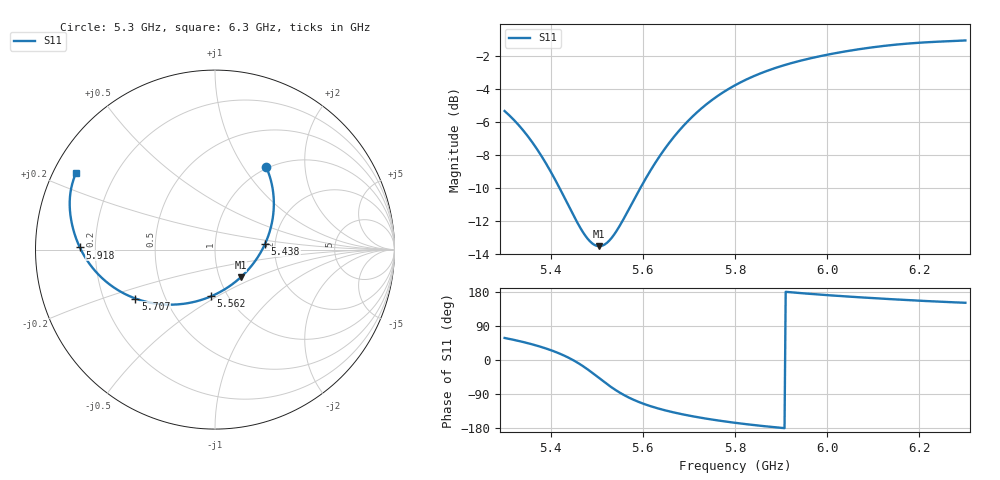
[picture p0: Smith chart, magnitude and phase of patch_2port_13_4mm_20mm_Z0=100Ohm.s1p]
! Created with skrf 1.8.0 (http://scikit-rf.org).
# Hz S RI R 100.0
!freq ReS11 ImS11
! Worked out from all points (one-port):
!   401 points, 5.3 GHz to 6.3 GHz, reference 100 ohm
!   lowest |S11| = -13.5 dB at 5.505 GHz (marker M1), VSWR 1.53, Z = 126 - j40.9 ohm
!   |S11| at or under -10 dB: 5.419 GHz to 5.595 GHz (175.6 MHz wide, 3.19 % of centre)
!   S11 on the Smith chart (normalised r, x): 5.3 GHz: 0.98, +1.27; 5.438 GHz: 1.77, +0.13; 5.562 GHz: 0.84, -0.47; 5.707 GHz: 0.34, -0.25; 5.918 GHz: 0.14, +0.01; 6.3 GHz: 0.06, +0.26
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5.3e9  0.2856 0.4598
5.3275e9  0.3112 0.386
5.3675e9  0.3279 0.2631
5.3975e9  0.3199 0.1643
5.425e9  0.2958 0.0736
5.4375e9  0.2796 0.0334
5.4775e9  0.2073 -0.0855
5.4925e9  0.1731 -0.125
5.505e9  0.1421 -0.1554
5.525e9  0.0885 -0.1985
5.55e9  0.0163 -0.2425
5.5625e9  -0.0214 -0.2601
5.59e9  -0.1061 -0.2888
5.6175e9  -0.191 -0.3038
5.645e9  -0.2737 -0.3062
5.675e9  -0.3589 -0.2961
5.7075e9  -0.4433 -0.2725
5.7525e9  -0.5436 -0.2239
5.8e9  -0.6278 -0.1599
5.855e9  -0.6994 -0.0792
5.9175e9  -0.753 0.0119
5.925e9  -0.7579 0.0225
5.985e9  -0.7873 0.1037
6.05e9  -0.8045 0.1849
6.1125e9  -0.8096 0.2573
6.175e9  -0.8044 0.3237
6.24e9  -0.7904 0.3835
6.3e9  -0.7751 0.4296
